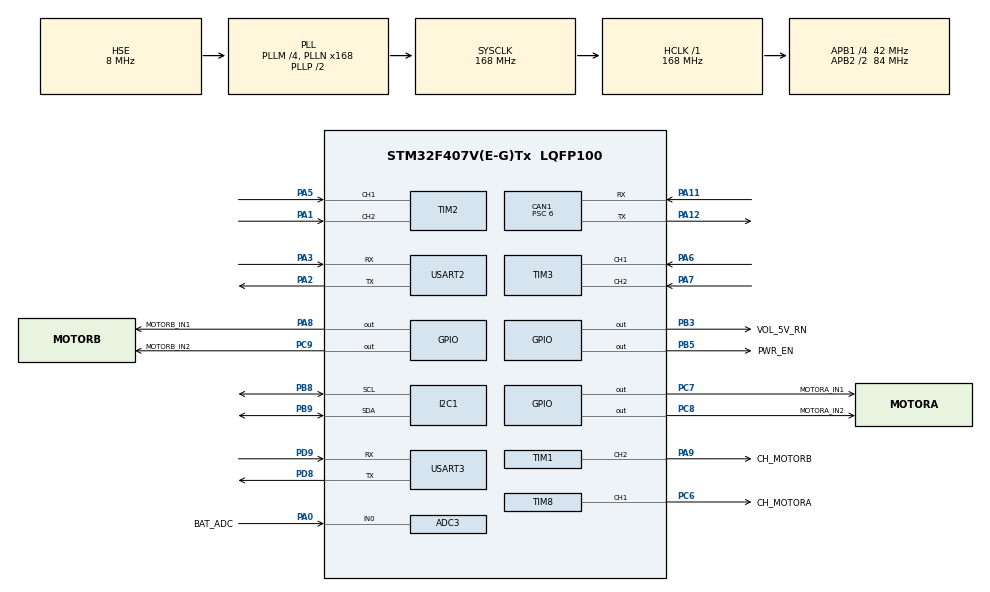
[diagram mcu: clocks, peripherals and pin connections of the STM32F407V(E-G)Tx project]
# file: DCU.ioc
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ADC3.Channel-0\#ChannelRegularConversion=ADC_CHANNEL_0
ADC3.NbrOfConversionFlag=1
ADC3.Rank-0\#ChannelRegularConversion=1
ADC3.SamplingTime-0\#ChannelRegularConversion=ADC_SAMPLETIME_3CYCLES
CAN1.BS1=CAN_BS1_3TQ
CAN1.BS2=CAN_BS2_3TQ
CAN1.CalculateBaudRate=1000000
CAN1.CalculateTimeBit=1000
CAN1.CalculateTimeQuantum=142.85714285714286
CAN1.Prescaler=6
Dma.ADC3.0.Direction=DMA_PERIPH_TO_MEMORY
Dma.ADC3.0.FIFOMode=DMA_FIFOMODE_DISABLE
Dma.ADC3.0.Instance=DMA2_Stream0
Dma.ADC3.0.MemDataAlignment=DMA_MDATAALIGN_HALFWORD
Dma.ADC3.0.MemInc=DMA_MINC_ENABLE
Dma.ADC3.0.Mode=DMA_NORMAL
Dma.ADC3.0.PeriphDataAlignment=DMA_PDATAALIGN_HALFWORD
Dma.ADC3.0.PeriphInc=DMA_PINC_DISABLE
Dma.ADC3.0.Priority=DMA_PRIORITY_LOW
Dma.Request0=ADC3
Mcu.Family=STM32F4
Mcu.Name=STM32F407V(E-G)Tx
Mcu.Package=LQFP100
NVIC.CAN1_RX1_IRQn=true\:0\:0\:false\:false\:true\:true\:true\:true
NVIC.DMA2_Stream0_IRQn=true\:0\:0\:false\:false\:true\:false\:true\:true
NVIC.PriorityGroup=NVIC_PRIORITYGROUP_4
PA0-WKUP.GPIO_Label=BAT_ADC
PA0-WKUP.Signal=ADCx_IN0
PA1.Signal=S_TIM2_CH2
PA11.GPIO_PuPd=GPIO_PULLUP
PA11.Mode=CAN_Activate
PA11.Signal=CAN1_RX
PA12.Mode=CAN_Activate
PA12.Signal=CAN1_TX
PA2.Mode=Asynchronous
PA2.Signal=USART2_TX
PA3.Mode=Asynchronous
PA3.Signal=USART2_RX
PA5.Signal=S_TIM2_CH1_ETR
PA6.Signal=S_TIM3_CH1
PA7.Signal=S_TIM3_CH2
PA8.GPIO_Label=MOTORB_IN1
PA8.Signal=GPIO_Output
PA9.GPIO_Label=CH_MOTORB
PA9.Signal=S_TIM1_CH2
PB3.GPIO_Label=VOL_5V_RN
PB3.PinState=GPIO_PIN_SET
PB3.Signal=GPIO_Output
PB5.GPIO_Label=PWR_EN
PB5.PinState=GPIO_PIN_SET
PB5.Signal=GPIO_Output
PB8.Mode=I2C
PB8.Signal=I2C1_SCL
PB9.Mode=I2C
PB9.Signal=I2C1_SDA
PC6.GPIO_Label=CH_MOTORA
PC6.Signal=S_TIM8_CH1
PC7.GPIO_Label=MOTORA_IN1
PC7.Signal=GPIO_Output
PC8.GPIO_Label=MOTORA_IN2
PC8.Signal=GPIO_Output
PC9.GPIO_Label=MOTORB_IN2
PC9.Signal=GPIO_Output
PD8.Mode=Asynchronous
PD8.Signal=USART3_TX
PD9.Mode=Asynchronous
PD9.Signal=USART3_RX
PH0-OSC_IN.Mode=HSE-External-Oscillator
PH0-OSC_IN.Signal=RCC_OSC_IN
PH1-OSC_OUT.Mode=HSE-External-Oscillator
PH1-OSC_OUT.Signal=RCC_OSC_OUT
ProjectManager.HeapSize=0x200
ProjectManager.StackSize=0x400
ProjectManager.TargetToolchain=Makefile
RCC.48MHZClocksFreq_Value=84000000
RCC.AHBFreq_Value=168000000
RCC.APB1CLKDivider=RCC_HCLK_DIV4
RCC.APB1Freq_Value=42000000
RCC.APB1TimFreq_Value=84000000
RCC.APB2CLKDivider=RCC_HCLK_DIV2
RCC.APB2Freq_Value=84000000
RCC.APB2TimFreq_Value=168000000
RCC.CortexFreq_Value=168000000
RCC.HCLKFreq_Value=168000000
RCC.HSE_VALUE=8000000
RCC.HSI_VALUE=16000000
RCC.LSE_VALUE=32768
RCC.PLLM=4
RCC.PLLN=168
RCC.PLLSourceVirtual=RCC_PLLSOURCE_HSE
RCC.SYSCLKFreq_VALUE=168000000
RCC.SYSCLKSource=RCC_SYSCLKSOURCE_PLLCLK
RCC.VCOOutputFreq_Value=336000000
SH.ADCx_IN0.0=ADC3_IN0,IN0
SH.S_TIM1_CH2.0=TIM1_CH2,PWM Generation2 CH2
SH.S_TIM2_CH1_ETR.0=TIM2_CH1,Encoder_Interface
SH.S_TIM2_CH2.0=TIM2_CH2,Encoder_Interface
SH.S_TIM3_CH1.0=TIM3_CH1,Encoder_Interface
SH.S_TIM3_CH2.0=TIM3_CH2,Encoder_Interface
SH.S_TIM8_CH1.0=TIM8_CH1,PWM Generation1 CH1
TIM1.Channel-PWM\ Generation2\ CH2=TIM_CHANNEL_2
TIM1.Period=8399
TIM2.EncoderMode=TIM_ENCODERMODE_TI12
TIM3.EncoderMode=TIM_ENCODERMODE_TI12
TIM8.Channel-PWM\ Generation1\ CH1=TIM_CHANNEL_1
TIM8.Period=8399
USART2.VirtualMode=VM_ASYNC
USART3.VirtualMode=VM_ASYNC
board=custom

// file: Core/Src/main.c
/* USER CODE BEGIN Header */
/**
 ******************************************************************************
 * @file           : main.c
 * @brief          : Main program body
 ******************************************************************************
 * @attention
 *
 * Copyright (c) 2026 STMicroelectronics.
 * All rights reserved.
 *
 * This software is licensed under terms that can be found in the LICENSE file
 * in the root directory of this software component.
 * If no LICENSE file comes with this software, it is provided AS-IS.
 *
 ******************************************************************************
 */
/* USER CODE END Header */
#include "main.h"
#include "adc.h"
#include "can.h"
#include "dma.h"
#include "i2c.h"
#include "tim.h"
#include "usart.h"
#include "gpio.h"

/* USER CODE BEGIN Includes */
#include "ktime_slice.h"
#include "app_log.h"
#include "bsp_can.h"
#include "dev_motor.h"
#include "dev_imu.h"
/* USER CODE END Includes */

void SystemClock_Config(void);

int main(void)
{

	/* MCU Configuration--------------------------------------------------------*/

	/* Reset of all peripherals, Initializes the Flash interface and the Systick. */
	HAL_Init();

	/* Configure the system clock */
	SystemClock_Config();

	/* Initialize all configured peripherals */
	MX_GPIO_Init();
	MX_DMA_Init();
	MX_CAN1_Init();
	MX_TIM2_Init();
	MX_USART2_UART_Init();
	MX_TIM1_Init();
	MX_TIM3_Init();
	MX_TIM8_Init();
	MX_USART3_UART_Init();
	MX_ADC3_Init();
	MX_I2C1_Init();
	/* USER CODE BEGIN 2 */
	bsp_can_create();
	uint8_t can_test_data[8] = {0x30, 0x31, 0x32, 0x33, 0x34, 0x35, 0x36, 0x37};
	uint8_t can_recv_data[8] = {0};
	uint8_t can_recv_len = 0;
	app_log("CAN test start\r\n");

	dev_motor_init();

	HAL_TIM_Encoder_Start(&htim2, TIM_CHANNEL_ALL);
	HAL_TIM_Encoder_Start(&htim3, TIM_CHANNEL_ALL);

	dev_imu_init();
	AccelData accData;
	GyroData gyroData;
	/* USER CODE END 2 */

	/* Infinite loop */
	/* USER CODE BEGIN WHILE */

	while (1)
	{
		dev_imu_read_acc(&accData);
		dev_imu_read_gyro(&gyroData);
		app_log("acc: x=%d, y=%d, z=%d\r\n", accData.x, accData.y, accData.z);
		app_log("gyro: x=%d, y=%d, z=%d\r\n", gyroData.x, gyroData.y, gyroData.z);

		bsp_can_send(can_test_data, 8);
		HAL_Delay(1000);
		/* USER CODE END WHILE */

	}
}

void SystemClock_Config(void)
{
	RCC_OscInitTypeDef RCC_OscInitStruct = {0};
	RCC_ClkInitTypeDef RCC_ClkInitStruct = {0};

	/** Configure the main internal regulator output voltage
	 */
	__HAL_RCC_PWR_CLK_ENABLE();
	__HAL_PWR_VOLTAGESCALING_CONFIG(PWR_REGULATOR_VOLTAGE_SCALE1);

	/** Initializes the RCC Oscillators according to the specified parameters
	 * in the RCC_OscInitTypeDef structure.
	 */
	RCC_OscInitStruct.OscillatorType = RCC_OSCILLATORTYPE_HSE;
	RCC_OscInitStruct.HSEState = RCC_HSE_ON;
	RCC_OscInitStruct.PLL.PLLState = RCC_PLL_ON;
	RCC_OscInitStruct.PLL.PLLSource = RCC_PLLSOURCE_HSE;
	RCC_OscInitStruct.PLL.PLLM = 4;
	RCC_OscInitStruct.PLL.PLLN = 168;
	RCC_OscInitStruct.PLL.PLLP = RCC_PLLP_DIV2;
	RCC_OscInitStruct.PLL.PLLQ = 4;
	if (HAL_RCC_OscConfig(&RCC_OscInitStruct) != HAL_OK)
	{
		Error_Handler();
	}

	/** Initializes the CPU, AHB and APB buses clocks
	 */
	RCC_ClkInitStruct.ClockType = RCC_CLOCKTYPE_HCLK | RCC_CLOCKTYPE_SYSCLK | RCC_CLOCKTYPE_PCLK1 | RCC_CLOCKTYPE_PCLK2;
	RCC_ClkInitStruct.SYSCLKSource = RCC_SYSCLKSOURCE_PLLCLK;
	RCC_ClkInitStruct.AHBCLKDivider = RCC_SYSCLK_DIV1;
	RCC_ClkInitStruct.APB1CLKDivider = RCC_HCLK_DIV4;
	RCC_ClkInitStruct.APB2CLKDivider = RCC_HCLK_DIV2;

	if (HAL_RCC_ClockConfig(&RCC_ClkInitStruct, FLASH_LATENCY_5) != HAL_OK)
	{
		Error_Handler();
	}
}

void Error_Handler(void)
{
	__disable_irq();
	while (1)
	{
	}
}
